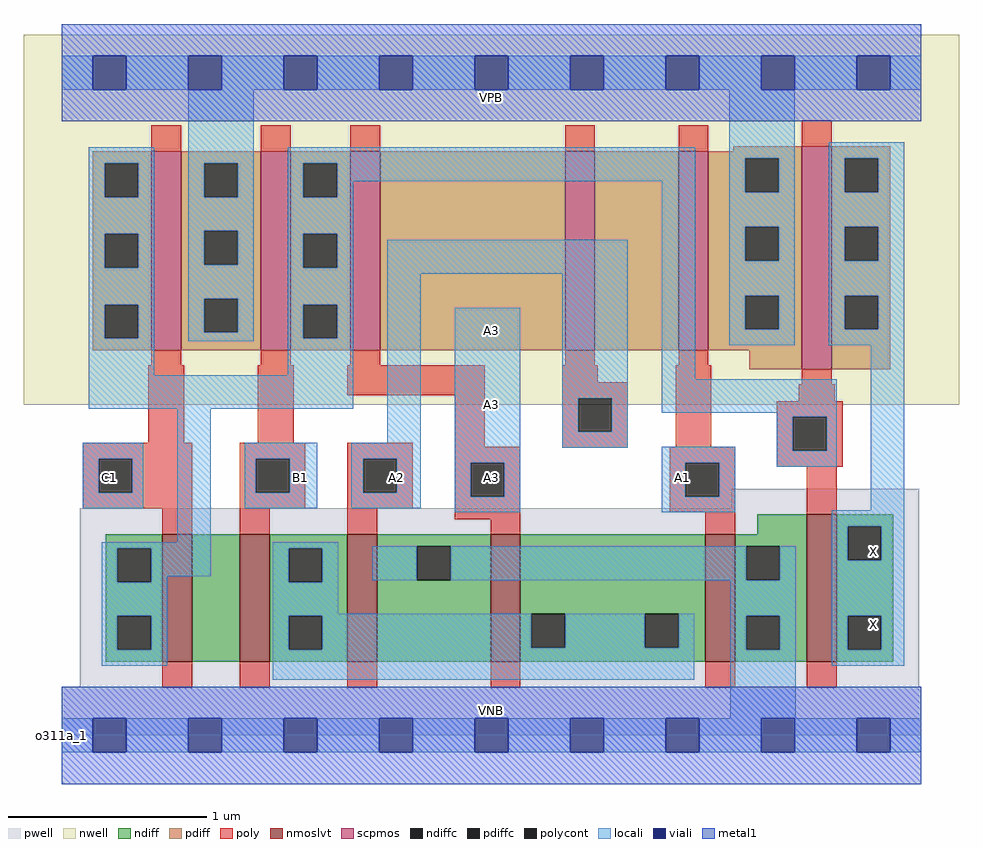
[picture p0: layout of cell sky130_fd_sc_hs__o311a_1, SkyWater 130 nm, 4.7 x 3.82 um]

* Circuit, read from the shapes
.subckt sky130_fd_sc_hs__o311a_1 A1 A2 A3 B1 C1 VGND VNB VPB VPWR X
XM1 n1 C1 n2 VNB sky130_fd_pr__nfet_01v8_lvt w=0.64 l=0.15
XM2 n3 B1 n1 VNB sky130_fd_pr__nfet_01v8_lvt w=0.64 l=0.15
XM3 VGND A2 n3 VNB sky130_fd_pr__nfet_01v8_lvt w=0.64 l=0.15
XM4 n3 A3 VGND VNB sky130_fd_pr__nfet_01v8_lvt w=0.64 l=0.15
XM5 VGND A1 n3 VNB sky130_fd_pr__nfet_01v8_lvt w=0.64 l=0.15
XM6 X n2 VGND VNB sky130_fd_pr__nfet_01v8_lvt w=0.74 l=0.15
XM7 VPWR C1 n2 VPB sky130_fd_pr__pfet_01v8 w=1 l=0.15
XM8 n2 B1 VPWR VPB sky130_fd_pr__pfet_01v8 w=1 l=0.15
XM9 n4 A3 n2 VPB sky130_fd_pr__pfet_01v8 w=1 l=0.15
XM10 n5 A2 n4 VPB sky130_fd_pr__pfet_01v8 w=1 l=0.15
XM11 VPWR A1 n5 VPB sky130_fd_pr__pfet_01v8 w=1 l=0.15
XM12 X n2 VPWR VPB sky130_fd_pr__pfet_01v8 w=1.12 l=0.15
.ends

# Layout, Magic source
magic
tech sky130A
magscale 1 2
<< nwell >>
rect -38 332 902 704
<< pwell >>
rect 673 228 862 248
rect 18 49 862 228
rect 0 0 864 49
<< scpmos >>
rect 90 387 120 587
rect 200 387 230 587
rect 290 387 320 587
rect 506 387 536 587
rect 620 387 650 587
rect 744 368 774 592
<< nmoslvt >>
rect 101 74 131 202
rect 179 74 209 202
rect 287 74 317 202
rect 431 74 461 202
rect 647 74 677 202
rect 749 74 779 222
<< ndiff >>
rect 699 202 749 222
rect 44 188 101 202
rect 44 154 56 188
rect 90 154 101 188
rect 44 120 101 154
rect 44 86 56 120
rect 90 86 101 120
rect 44 74 101 86
rect 131 74 179 202
rect 209 188 287 202
rect 209 154 228 188
rect 262 154 287 188
rect 209 120 287 154
rect 209 86 228 120
rect 262 86 287 120
rect 209 74 287 86
rect 317 190 431 202
rect 317 156 357 190
rect 391 156 431 190
rect 317 74 431 156
rect 461 122 647 202
rect 461 88 472 122
rect 506 88 586 122
rect 620 88 647 122
rect 461 74 647 88
rect 677 190 749 202
rect 677 156 688 190
rect 722 156 749 190
rect 677 120 749 156
rect 677 86 688 120
rect 722 86 749 120
rect 677 74 749 86
rect 779 210 836 222
rect 779 176 790 210
rect 824 176 836 210
rect 779 120 836 176
rect 779 86 790 120
rect 824 86 836 120
rect 779 74 836 86
<< pdiff >>
rect 675 587 744 592
rect 31 575 90 587
rect 31 541 43 575
rect 77 541 90 575
rect 31 504 90 541
rect 31 470 43 504
rect 77 470 90 504
rect 31 433 90 470
rect 31 399 43 433
rect 77 399 90 433
rect 31 387 90 399
rect 120 575 200 587
rect 120 541 143 575
rect 177 541 200 575
rect 120 507 200 541
rect 120 473 143 507
rect 177 473 200 507
rect 120 439 200 473
rect 120 405 143 439
rect 177 405 200 439
rect 120 387 200 405
rect 230 575 290 587
rect 230 541 243 575
rect 277 541 290 575
rect 230 504 290 541
rect 230 470 243 504
rect 277 470 290 504
rect 230 433 290 470
rect 230 399 243 433
rect 277 399 290 433
rect 230 387 290 399
rect 320 387 506 587
rect 536 387 620 587
rect 650 580 744 587
rect 650 546 687 580
rect 721 546 744 580
rect 650 511 744 546
rect 650 477 687 511
rect 721 477 744 511
rect 650 442 744 477
rect 650 408 687 442
rect 721 408 744 442
rect 650 387 744 408
rect 691 368 744 387
rect 774 580 833 592
rect 774 546 787 580
rect 821 546 833 580
rect 774 511 833 546
rect 774 477 787 511
rect 821 477 833 511
rect 774 442 833 477
rect 774 408 787 442
rect 821 408 833 442
rect 774 368 833 408
<< ndiffc >>
rect 56 154 90 188
rect 56 86 90 120
rect 228 154 262 188
rect 228 86 262 120
rect 357 156 391 190
rect 472 88 506 122
rect 586 88 620 122
rect 688 156 722 190
rect 688 86 722 120
rect 790 176 824 210
rect 790 86 824 120
<< pdiffc >>
rect 43 541 77 575
rect 43 470 77 504
rect 43 399 77 433
rect 143 541 177 575
rect 143 473 177 507
rect 143 405 177 439
rect 243 541 277 575
rect 243 470 277 504
rect 243 399 277 433
rect 687 546 721 580
rect 687 477 721 511
rect 687 408 721 442
rect 787 546 821 580
rect 787 477 821 511
rect 787 408 821 442
<< poly >>
rect 90 587 120 613
rect 200 587 230 613
rect 290 587 320 613
rect 506 587 536 613
rect 620 587 650 613
rect 744 592 774 618
rect 90 372 120 387
rect 200 372 230 387
rect 290 372 320 387
rect 506 372 536 387
rect 620 372 650 387
rect 87 294 123 372
rect 197 294 233 372
rect 287 342 425 372
rect 21 278 131 294
rect 21 244 37 278
rect 71 244 131 278
rect 21 228 131 244
rect 101 202 131 228
rect 179 278 245 294
rect 179 244 195 278
rect 229 244 245 278
rect 179 228 245 244
rect 287 278 353 294
rect 287 244 303 278
rect 337 244 353 278
rect 287 228 353 244
rect 395 290 425 342
rect 503 355 539 372
rect 503 339 569 355
rect 503 305 519 339
rect 553 305 569 339
rect 395 274 461 290
rect 503 289 569 305
rect 617 290 653 372
rect 744 353 774 368
rect 741 336 777 353
rect 719 320 785 336
rect 395 240 411 274
rect 445 240 461 274
rect 179 202 209 228
rect 287 202 317 228
rect 395 217 461 240
rect 611 274 677 290
rect 611 240 627 274
rect 661 240 677 274
rect 719 286 735 320
rect 769 286 785 320
rect 719 270 785 286
rect 611 224 677 240
rect 431 202 461 217
rect 647 202 677 224
rect 749 222 779 270
rect 101 48 131 74
rect 179 48 209 74
rect 287 48 317 74
rect 431 48 461 74
rect 647 48 677 74
rect 749 48 779 74
<< polycont >>
rect 37 244 71 278
rect 195 244 229 278
rect 303 244 337 278
rect 519 305 553 339
rect 411 240 445 274
rect 627 240 661 274
rect 735 286 769 320
<< locali >>
rect 0 649 31 683
rect 65 649 127 683
rect 161 649 223 683
rect 257 649 319 683
rect 353 649 415 683
rect 449 649 511 683
rect 545 649 607 683
rect 641 649 703 683
rect 737 649 799 683
rect 833 649 864 683
rect 27 575 93 591
rect 27 541 43 575
rect 77 541 93 575
rect 27 504 93 541
rect 27 470 43 504
rect 77 470 93 504
rect 27 433 93 470
rect 27 399 43 433
rect 77 399 93 433
rect 27 362 93 399
rect 127 575 193 649
rect 127 541 143 575
rect 177 541 193 575
rect 127 507 193 541
rect 127 473 143 507
rect 177 473 193 507
rect 127 439 193 473
rect 127 405 143 439
rect 177 405 193 439
rect 127 396 193 405
rect 227 575 637 591
rect 227 541 243 575
rect 277 557 637 575
rect 277 541 293 557
rect 227 504 293 541
rect 227 470 243 504
rect 277 470 293 504
rect 227 433 293 470
rect 227 399 243 433
rect 277 399 293 433
rect 227 362 293 399
rect 27 328 293 362
rect 327 464 569 498
rect 21 278 82 294
rect 21 244 37 278
rect 71 244 82 278
rect 21 228 82 244
rect 116 194 150 328
rect 327 294 361 464
rect 184 278 257 294
rect 184 244 195 278
rect 229 244 257 278
rect 184 228 257 244
rect 291 278 361 294
rect 291 244 303 278
rect 337 244 361 278
rect 291 228 361 244
rect 395 274 461 430
rect 503 339 569 464
rect 503 305 519 339
rect 553 305 569 339
rect 603 358 637 557
rect 671 580 737 649
rect 671 546 687 580
rect 721 546 737 580
rect 671 511 737 546
rect 671 477 687 511
rect 721 477 737 511
rect 671 442 737 477
rect 671 408 687 442
rect 721 408 737 442
rect 671 392 737 408
rect 771 580 847 596
rect 771 546 787 580
rect 821 546 847 580
rect 771 511 847 546
rect 771 477 787 511
rect 821 477 847 511
rect 771 442 847 477
rect 771 408 787 442
rect 821 408 847 442
rect 771 392 847 408
rect 603 324 779 358
rect 503 289 569 305
rect 719 320 779 324
rect 395 240 411 274
rect 445 240 461 274
rect 395 224 461 240
rect 603 274 677 290
rect 603 240 627 274
rect 661 240 677 274
rect 719 286 735 320
rect 769 286 779 320
rect 719 270 779 286
rect 603 224 677 240
rect 813 226 847 392
rect 774 210 847 226
rect 40 188 150 194
rect 40 154 56 188
rect 90 160 150 188
rect 212 188 278 194
rect 90 154 106 160
rect 40 120 106 154
rect 40 86 56 120
rect 90 86 106 120
rect 40 70 106 86
rect 212 154 228 188
rect 262 154 278 188
rect 312 156 357 190
rect 391 156 688 190
rect 722 156 738 190
rect 212 122 278 154
rect 212 120 472 122
rect 212 86 228 120
rect 262 88 472 120
rect 506 88 586 122
rect 620 88 636 122
rect 262 86 636 88
rect 212 56 636 86
rect 672 120 738 156
rect 672 86 688 120
rect 722 86 738 120
rect 672 17 738 86
rect 774 176 790 210
rect 824 176 847 210
rect 774 120 847 176
rect 774 86 790 120
rect 824 86 847 120
rect 774 70 847 86
rect 0 -17 31 17
rect 65 -17 127 17
rect 161 -17 223 17
rect 257 -17 319 17
rect 353 -17 415 17
rect 449 -17 511 17
rect 545 -17 607 17
rect 641 -17 703 17
rect 737 -17 799 17
rect 833 -17 864 17
<< viali >>
rect 31 649 65 683
rect 127 649 161 683
rect 223 649 257 683
rect 319 649 353 683
rect 415 649 449 683
rect 511 649 545 683
rect 607 649 641 683
rect 703 649 737 683
rect 799 649 833 683
rect 31 -17 65 17
rect 127 -17 161 17
rect 223 -17 257 17
rect 319 -17 353 17
rect 415 -17 449 17
rect 511 -17 545 17
rect 607 -17 641 17
rect 703 -17 737 17
rect 799 -17 833 17
<< metal1 >>
rect 0 683 864 715
rect 0 649 31 683
rect 65 649 127 683
rect 161 649 223 683
rect 257 649 319 683
rect 353 649 415 683
rect 449 649 511 683
rect 545 649 607 683
rect 641 649 703 683
rect 737 649 799 683
rect 833 649 864 683
rect 0 617 864 649
rect 0 17 864 49
rect 0 -17 31 17
rect 65 -17 127 17
rect 161 -17 223 17
rect 257 -17 319 17
rect 353 -17 415 17
rect 449 -17 511 17
rect 545 -17 607 17
rect 641 -17 703 17
rect 737 -17 799 17
rect 833 -17 864 17
rect 0 -49 864 -17
<< labels >>
rlabel comment s 0 0 0 0 4 o311a_1
flabel pwell s 0 0 864 49 0 FreeSans 200 0 0 0 VNB
port 7 nsew ground bidirectional
flabel nwell s 0 617 864 666 0 FreeSans 200 0 0 0 VPB
port 8 nsew power bidirectional
flabel metal1 s 0 617 864 666 0 FreeSans 340 0 0 0 VPWR
port 9 nsew power bidirectional
flabel metal1 s 0 0 864 49 0 FreeSans 340 0 0 0 VGND
port 6 nsew ground bidirectional
flabel locali s 31 242 65 276 0 FreeSans 340 0 0 0 C1
port 5 nsew signal input
flabel locali s 223 242 257 276 0 FreeSans 340 0 0 0 B1
port 4 nsew signal input
flabel locali s 415 242 449 276 0 FreeSans 340 0 0 0 A3
port 3 nsew signal input
flabel locali s 415 316 449 350 0 FreeSans 340 0 0 0 A3
port 3 nsew signal input
flabel locali s 415 390 449 424 0 FreeSans 340 0 0 0 A3
port 3 nsew signal input
flabel locali s 319 242 353 276 0 FreeSans 340 0 0 0 A2
port 2 nsew signal input
flabel locali s 607 242 641 276 0 FreeSans 340 0 0 0 A1
port 1 nsew signal input
flabel locali s 799 94 833 128 0 FreeSans 340 0 0 0 X
port 10 nsew signal output
flabel locali s 799 168 833 202 0 FreeSans 340 0 0 0 X
port 10 nsew signal output
<< properties >>
string LEFsite unit
string LEFclass CORE
string FIXED_BBOX 0 0 864 666
string GDS_FILE $PDKPATH/libs.ref/sky130_fd_sc_hs/gds/sky130_fd_sc_hs.gds
string LEFsymmetry X Y
string GDS_END 2453734
string GDS_START 2445882
<< end >>
